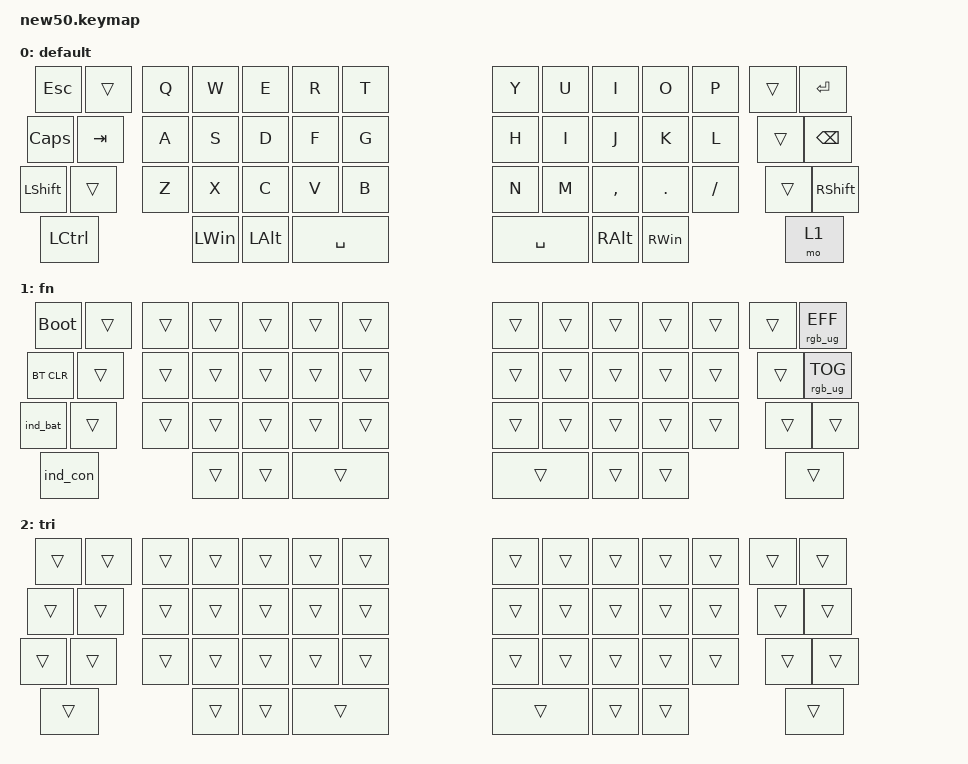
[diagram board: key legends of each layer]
/*
 * Copyright (c) 2020 The ZMK Contributors
 *
 * SPDX-License-Identifier: MIT
 */

#include <behaviors.dtsi>
#include <dt-bindings/zmk/bt.h>
#include <dt-bindings/zmk/keys.h>
#include <dt-bindings/zmk/rgb.h>
#include <behaviors/rgbled_widget.dtsi>

/ {
    keymap0: keymap {
        compatible = "zmk,keymap";

        default_layer {
            display-name = "default";
            bindings = <
&kp ESCAPE    &trans   &kp Q   &kp W   &kp E         &kp R         &kp T      &kp Y      &kp U          &kp I          &kp O       &kp P     &trans  &kp ENTER
&kp CAPSLOCK  &kp TAB  &kp A   &kp S   &kp D         &kp F         &kp G      &kp H      &kp I          &kp J          &kp K       &kp L     &trans  &kp BACKSPACE
&kp LSHIFT    &trans   &kp Z   &kp X   &kp C         &kp V         &kp B      &kp N      &kp M          &kp COMMA      &kp PERIOD  &kp FSLH  &trans  &kp RSHIFT
&kp LCTRL              &kp LEFT_WIN    &kp LEFT_ALT                &kp SPACE  &kp SPACE                 &kp RIGHT_ALT  &kp RIGHT_WIN                 &mo 1
            >;
        };

        fn_layer {
            display-name = "fn";
            bindings = <
&bootloader &trans  &trans  &trans  &trans  &trans  &trans  &trans  &trans  &trans  &trans  &trans  &trans  &rgb_ug RGB_EFF
&bt BT_CLR  &trans  &trans  &trans  &trans  &trans  &trans  &trans  &trans  &trans  &trans  &trans  &trans  &rgb_ug RGB_TOG
&ind_bat    &trans  &trans  &trans  &trans  &trans  &trans  &trans  &trans  &trans  &trans  &trans  &trans  &trans
&ind_con                    &trans  &trans          &trans  &trans          &trans  &trans                  &trans
            >;
        };

        tri_layer {
            display-name = "tri";
            bindings = <
&trans &trans  &trans  &trans  &trans  &trans  &trans  &trans  &trans  &trans  &trans  &trans  &trans  &trans
&trans &trans  &trans  &trans  &trans  &trans  &trans  &trans  &trans  &trans  &trans  &trans  &trans  &trans
&trans &trans  &trans  &trans  &trans  &trans  &trans  &trans  &trans  &trans  &trans  &trans  &trans  &trans
&trans                 &trans  &trans          &trans  &trans          &trans  &trans                  &trans
            >;
        };
    };
};
